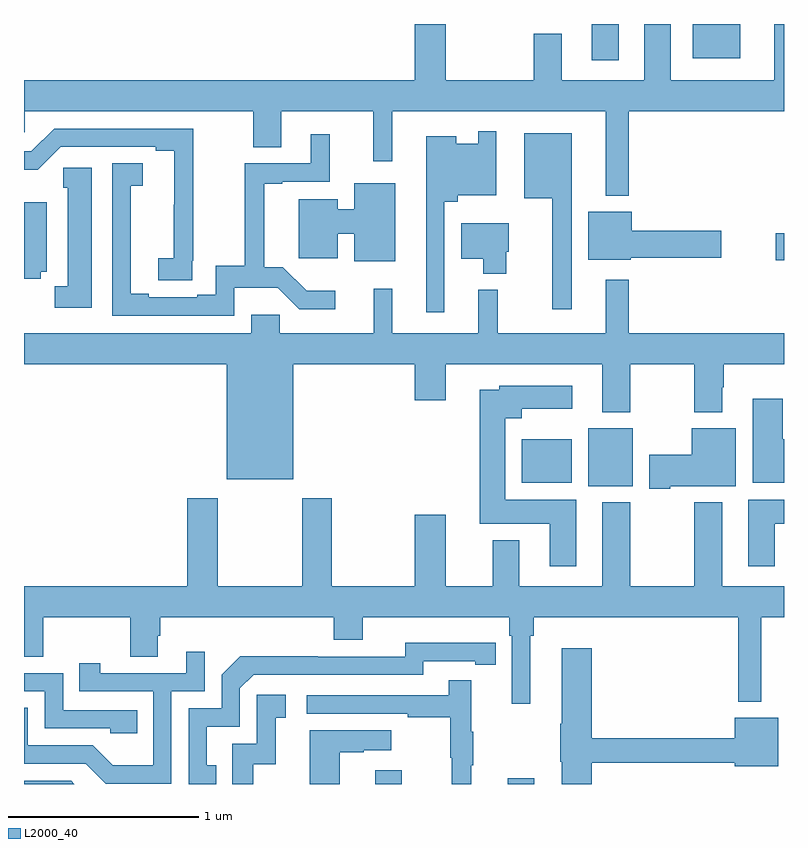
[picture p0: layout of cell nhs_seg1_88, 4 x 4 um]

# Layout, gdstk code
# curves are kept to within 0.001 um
import gdstk
lib = gdstk.Library(unit=1e-6, precision=1e-09)
def R(c, l, rs):  # rectangles x0, y0, x1, y1
    for r in rs: c.add(gdstk.rectangle(r[:2], r[2:], *l))
def P(c, l, *ps):  # polygons
    for p in ps: c.add(gdstk.Polygon(p, *l))
L2000_40 = (2000, 40)

nhs_seg1_88 = lib.new_cell('nhs_seg1_88')
R(nhs_seg1_88, L2000_40, [(116.849,540.199,116.989,540.271), (117.545,540.199,117.685,540.229), (117.971,541.766,118.204,542.071), (117.62,541.784,117.883,542.014), (118.956,542.956,119,543.098), (117.989,544.008,118.129,544.199), (118.52,544.019,118.771,544.199)])
P(nhs_seg1_88, L2000_40, [(118.183,543.74),(119,543.74),(119,544.199),(118.949,544.199),(118.949,543.904),(118.405,543.904),(118.405,544.199),(118.265,544.199),(118.265,543.904),(117.829,543.904),(117.829,544.147),(117.682,544.147),(117.682,543.904),(117.22,543.904),(117.22,544.199),(117.056,544.199),(117.056,543.904),(115,543.904),(115,543.63),(115.005,543.63),(115.005,543.74),(116.206,543.74),(116.206,543.55),(116.353,543.55),(116.353,543.74),(116.839,543.74),(116.839,543.477),(116.938,543.477),(116.938,543.74),(118.061,543.74),(118.061,543.296),(118.183,543.296)],
  [(115.886,542.953),(115.892,542.953),(115.892,543.648),(115.158,543.648),(115.038,543.528),(115,543.528),(115,543.431),(115.073,543.431),(115.194,543.552),(115.694,543.552),(115.694,543.532),(115.79,543.532),(115.789,542.966),(115.707,542.966),(115.707,542.851),(115.886,542.851)],
  [(117.213,543.263),(117.282,543.263),(117.282,543.299),(117.486,543.299),(117.486,543.634),(117.39,543.634),(117.39,543.568),(117.274,543.568),(117.274,543.607),(117.116,543.607),(117.116,542.682),(117.213,542.682)],
  [(117.883,543.625),(117.632,543.625),(117.632,543.281),(117.779,543.281),(117.779,542.697),(117.883,542.697)],
  [(116.106,542.81),(116.335,542.81),(116.448,542.697),(116.638,542.697),(116.638,542.794),(116.489,542.794),(116.363,542.92),(116.264,542.92),(116.264,543.357),(116.359,543.357),(116.359,543.369),(116.61,543.369),(116.61,543.619),(116.51,543.619),(116.51,543.465),(116.161,543.465),(116.161,542.927),(116.01,542.927),(116.01,542.774),(115.913,542.774),(115.913,542.76),(115.657,542.76),(115.657,542.78),(115.561,542.78),(115.561,543.043),(115.563,543.043),(115.563,543.347),(115.624,543.347),(115.624,543.467),(115.464,543.467),(115.464,542.664),(116.106,542.664)],
  [(115.357,543.442),(115.207,543.442),(115.207,543.336),(115.229,543.336),(115.229,542.82),(115.161,542.82),(115.161,542.705),(115.357,542.705)],
  [(116.953,543.361),(116.738,543.361),(116.738,543.224),(116.65,543.224),(116.65,543.277),(116.447,543.277),(116.447,542.967),(116.65,542.967),(116.65,543.096),(116.738,543.096),(116.738,542.951),(116.953,542.951)],
  [(115.088,542.894),(115.12,542.894),(115.12,543.262),(115,543.262),(115,542.857),(115.088,542.857)],
  [(118.194,542.968),(118.669,542.968),(118.669,543.11),(118.198,543.11),(118.198,543.211),(117.971,543.211),(117.971,542.957),(118.194,542.957)],
  [(117.538,543),(117.55,543),(117.55,543.151),(117.302,543.151),(117.302,542.963),(117.416,542.963),(117.416,542.885),(117.538,542.885)],
  [(116.416,542.408),(117.056,542.408),(117.056,542.22),(117.22,542.22),(117.22,542.408),(118.043,542.408),(118.043,542.156),(118.191,542.156),(118.191,542.408),(118.528,542.408),(118.528,542.156),(118.675,542.156),(118.675,542.288),(118.683,542.288),(118.683,542.408),(119,542.408),(119,542.572),(118.183,542.572),(118.183,542.854),(118.061,542.854),(118.061,542.572),(117.494,542.572),(117.494,542.8),(117.392,542.8),(117.392,542.572),(116.939,542.572),(116.939,542.806),(116.84,542.806),(116.84,542.572),(116.347,542.572),(116.347,542.67),(116.195,542.67),(116.195,542.572),(115,542.572),(115,542.408),(116.066,542.408),(116.066,541.802),(116.416,541.802)],
  [(117.907,541.696),(117.532,541.696),(117.532,542.123),(117.619,542.123),(117.619,542.174),(117.886,542.174),(117.886,542.296),(117.501,542.296),(117.501,542.275),(117.398,542.275),(117.398,541.568),(117.767,541.568),(117.767,541.344),(117.907,541.344)],
  [(119,542.014),(118.993,542.014),(118.993,542.227),(118.835,542.227),(118.835,541.784),(119,541.784)],
  [(118.402,541.766),(118.747,541.766),(118.747,542.071),(118.514,542.071),(118.514,541.932),(118.29,541.932),(118.29,541.754),(118.402,541.754)],
  [(117.664,540.98),(117.683,540.98),(117.683,541.076),(118.758,541.076),(118.758,540.632),(118.879,540.632),(118.879,541.076),(119,541.076),(119,541.24),(118.675,541.24),(118.675,541.681),(118.528,541.681),(118.528,541.24),(118.191,541.24),(118.191,541.681),(118.043,541.681),(118.043,541.24),(117.607,541.24),(117.607,541.483),(117.467,541.483),(117.467,541.24),(117.22,541.24),(117.22,541.615),(117.056,541.615),(117.056,541.24),(116.619,541.24),(116.619,541.702),(116.464,541.702),(116.464,541.24),(116.019,541.24),(116.019,541.702),(115.859,541.702),(115.859,541.24),(115,541.24),(115,540.868),(115.101,540.868),(115.101,541.076),(115.558,541.076),(115.558,540.868),(115.705,540.868),(115.705,540.978),(115.718,540.978),(115.718,541.076),(116.63,541.076),(116.63,540.959),(116.782,540.959),(116.782,541.076),(117.554,541.076),(117.554,540.98),(117.567,540.98),(117.567,540.621),(117.664,540.621)],
  [(118.951,541.568),(119,541.568),(119,541.696),(118.811,541.696),(118.811,541.344),(118.951,541.344)],
  [(116.012,540.297),(115.963,540.297),(115.963,540.501),(116.136,540.501),(116.136,540.702),(116.208,540.774),(117.102,540.774),(117.102,540.846),(117.374,540.846),(117.374,540.826),(117.482,540.826),(117.482,540.942),(117.006,540.943),(117.006,540.87),(116.546,540.87),(116.546,540.872),(116.138,540.872),(116.04,540.774),(116.04,540.597),(115.866,540.597),(115.866,540.199),(116.012,540.199)],
  [(117.989,540.312),(118.742,540.312),(118.742,540.293),(118.969,540.293),(118.969,540.547),(118.742,540.547),(118.742,540.44),(117.989,540.44),(117.989,540.913),(117.83,540.913),(117.83,540.517),(117.823,540.517),(117.823,540.317),(117.83,540.317),(117.83,540.199),(117.989,540.199)],
  [(115.776,540.687),(115.95,540.687),(115.95,540.895),(115.853,540.895),(115.853,540.783),(115.402,540.783),(115.402,540.835),(115.291,540.835),(115.291,540.687),(115.68,540.687),(115.68,540.298),(115.466,540.298),(115.362,540.402),(115.02,540.402),(115.02,540.601),(115,540.601),(115,540.306),(115.325,540.306),(115.43,540.201),(115.776,540.201)],
  [(115.595,540.588),(115.206,540.588),(115.206,540.783),(115,540.783),(115,540.687),(115.11,540.687),(115.11,540.492),(115.455,540.492),(115.455,540.465),(115.595,540.465)],
  [(117.353,540.299),(117.364,540.299),(117.364,540.473),(117.353,540.473),(117.353,540.745),(117.235,540.745),(117.235,540.666),(116.487,540.666),(116.487,540.57),(117.019,540.57),(117.019,540.55),(117.243,540.55),(117.243,540.336),(117.25,540.336),(117.25,540.199),(117.353,540.199)],
  [(116.206,540.303),(116.324,540.303),(116.324,540.549),(116.377,540.549),(116.377,540.67),(116.226,540.67),(116.226,540.411),(116.097,540.411),(116.097,540.199),(116.206,540.199)],
  [(116.662,540.367),(116.789,540.367),(116.789,540.377),(116.932,540.377),(116.932,540.481),(116.504,540.481),(116.504,540.199),(116.662,540.199)],
  [(115.248,540.216),(115,540.216),(115,540.199),(115.265,540.199)])

lib.write_gds('nhs_seg1_88.gds')
